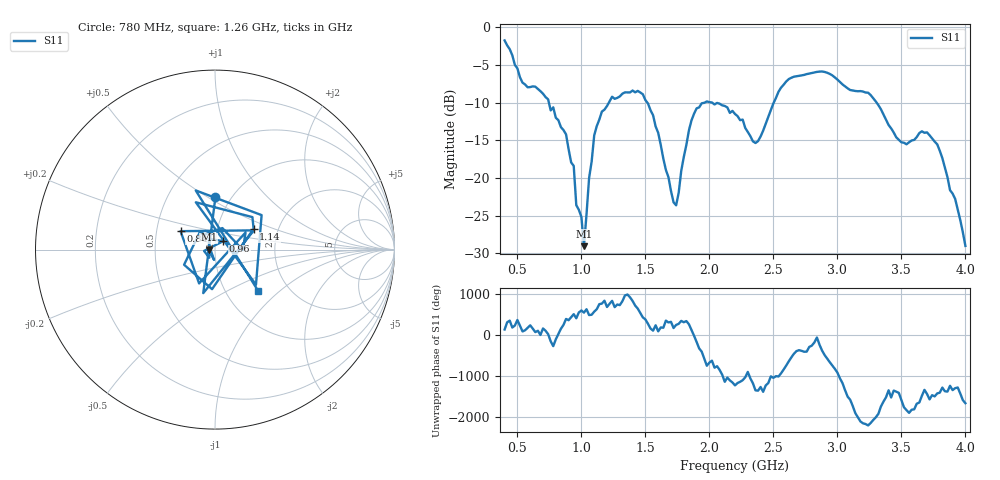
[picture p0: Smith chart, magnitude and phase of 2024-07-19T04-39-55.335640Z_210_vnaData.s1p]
!Created with skrf (http://scikit-rf.org).
# Hz S RI R 50.0
!freq ReS11 ImS11
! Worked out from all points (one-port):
!   181 points, 400 MHz to 4 GHz, reference 50 ohm
!   lowest |S11| = -29.0 dB at 1.02 GHz (marker M1), VSWR 1.07, Z = 46.6 - j0.111 ohm
!   |S11| at or under -10 dB: 746.1 MHz to 1.214 GHz (468 MHz wide, 47.8 % of centre); 2.022 GHz to 2.502 GHz (480 MHz wide, 21.2 % of centre); 3.307 GHz to end of sweep (the widest 3 of 4)
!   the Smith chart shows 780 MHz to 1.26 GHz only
!   S11 on the Smith chart (normalised r, x): 780 MHz: 0.84, +0.54; 840 MHz: 0.67, +0.14; 960 MHz: 1.09, +0.10; 1.14 GHz: 1.49, +0.37; 1.26 GHz: 1.41, -0.74
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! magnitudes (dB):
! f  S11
! 400 MHz  -1.7
! 540 MHz  -7.3
! 780 MHz  -10.6
! 840 MHz  -13.2
! 860 MHz  -13.6
! 940 MHz  -18.4
! 960 MHz  -23.6
! 1 GHz  -25.2
! 1.02 GHz  -29.0
! 1.06 GHz  -20.0
! 1.1 GHz  -14.3
! 1.14 GHz  -12.2
! 1.26 GHz  -9.5
! 1.3 GHz  -9.2
! 1.48 GHz  -8.9
! 1.6 GHz  -14.0
! 1.72 GHz  -23.2
! 1.76 GHz  -22.0
! 1.84 GHz  -13.7
! 1.9 GHz  -10.8
! 2.2 GHz  -11.5
! 2.36 GHz  -15.4
! 2.66 GHz  -6.5
! 3.1 GHz  -8.3
! 3.24 GHz  -8.7
! 3.56 GHz  -15.3
! 3.78 GHz  -15.5
! 4 GHz  -29.0
